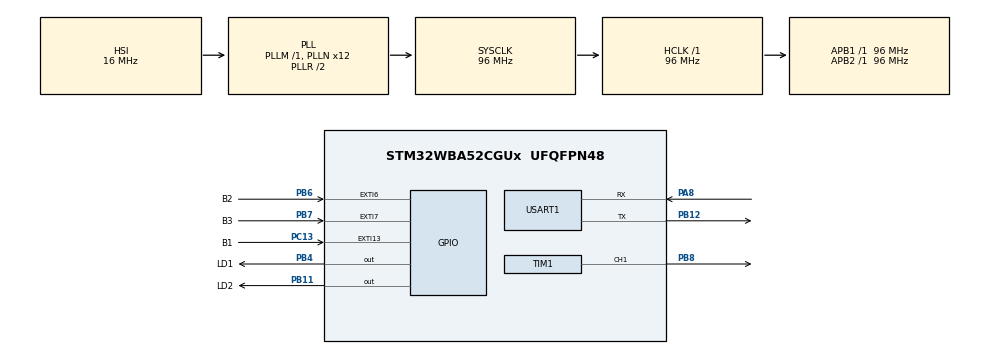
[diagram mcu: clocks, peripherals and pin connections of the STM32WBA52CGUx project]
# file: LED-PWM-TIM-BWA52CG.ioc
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CORTEX_M33_NS.userName=CORTEX_M33
Mcu.Family=STM32WBA
Mcu.Name=STM32WBA52CGUx
Mcu.Package=UFQFPN48
NVIC.PriorityGroup=NVIC_PRIORITYGROUP_4
OSC_IN.Mode=HSE-External-Oscillator
OSC_IN.Signal=RCC_OSC_IN
OSC_OUT.Mode=HSE-External-Oscillator
OSC_OUT.Signal=RCC_OSC_OUT
PA13\ (JTMS/SWDIO).Mode=Serial_Wire
PA13\ (JTMS/SWDIO).Signal=DEBUG_JTMS-SWDIO
PA14\ (JTCK/SWCLK).Mode=Serial_Wire
PA14\ (JTCK/SWCLK).Signal=DEBUG_JTCK-SWCLK
PA8.Mode=Asynchronous
PA8.Signal=USART1_RX
PB11.GPIO_Label=LD2
PB11.GPIO_Speed=GPIO_SPEED_FREQ_HIGH
PB11.Signal=GPIO_Output
PB12.Mode=Asynchronous
PB12.Signal=USART1_TX
PB4\ (NJTRST).GPIO_Label=LD1
PB4\ (NJTRST).GPIO_Speed=GPIO_SPEED_FREQ_HIGH
PB4\ (NJTRST).Signal=GPIO_Output
PB6.GPIO_Label=B2
PB6.Signal=GPXTI6
PB7.GPIO_Label=B3
PB7.Signal=GPXTI7
PB8.Signal=S_TIM1_CH1
PC13.GPIO_Label=B1
PC13.Signal=GPXTI13
PC14-OSC32_IN.Mode=LSE-External-Oscillator
PC14-OSC32_IN.Signal=RCC_OSC32_IN
PC15-OSC32_OUT.Mode=LSE-External-Oscillator
PC15-OSC32_OUT.Signal=RCC_OSC32_OUT
ProjectManager.HeapSize=0x200
ProjectManager.StackSize=0x400
ProjectManager.TargetToolchain=STM32CubeIDE
RCC.ADCFreq_Value=96000000
RCC.AHB5CLKDivider=DIV6
RCC.AHBFreq_Value=96000000
RCC.APB1Freq_Value=96000000
RCC.APB1TimFreq_Value=96000000
RCC.APB2Freq_Value=96000000
RCC.APB2TimFreq_Value=96000000
RCC.CortexFreq_Value=96000000
RCC.HCLKFreq_Value=96000000
RCC.HSE_VALUE=32000000
RCC.HSI_VALUE=16000000
RCC.PLLN=12
RCC.PWR_Regulator_Voltage_Scale=PWR_REGULATOR_VOLTAGE_SCALE1
RCC.SYSCLKFreq_VALUE=96000000
RCC.SYSCLKSourceVirtual=RCC_SYSCLKSOURCE_PLLCLK
RCC.VCOOutputFreq_Value=192000000
SH.S_TIM1_CH1.0=TIM1_CH1,PWM Generation1 CH1
TIM1.AutoReloadPreload=TIM_AUTORELOAD_PRELOAD_ENABLE
TIM1.Channel-PWM\ Generation1\ CH1=TIM_CHANNEL_1
TIM1.PeriodNoDither=56667-1
TIM1.Prescaler=2
USART1.VirtualMode-Asynchronous=VM_ASYNC
VP_ICACHE_VS_ICACHE.Mode=DirectMappedCache
VP_PWR_VS_SECSignals.Mode=Security/Privilege
VP_TIM1_VS_ClockSourceINT.Mode=Internal
board=NUCLEO-WBA52CG

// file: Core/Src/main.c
/* USER CODE BEGIN Header */
/**
 ******************************************************************************
 * @file           : main.c
 * @brief          : Main program body
 ******************************************************************************
 * @attention
 *
 * Copyright (c) 2023 STMicroelectronics.
 * All rights reserved.
 *
 * This software is licensed under terms that can be found in the LICENSE file
 * in the root directory of this software component.
 * If no LICENSE file comes with this software, it is provided AS-IS.
 *
 ******************************************************************************
 */
/* USER CODE END Header */
#include "main.h"
#include "string.h"
#include "stdio.h"
#include "stdarg.h"

TIM_HandleTypeDef htim1;

UART_HandleTypeDef huart1;

void SystemClock_Config(void);
static void MX_GPIO_Init(void);
static void MX_USART1_UART_Init(void);
static void MX_TIM1_Init(void);
static void MX_ICACHE_Init(void);
/* USER CODE BEGIN PFP */

#ifdef __GNUC__
/* With GCC, small printf (option LD Linker->Libraries->Small printf
 set to 'Yes') calls __io_putchar() */
#define PUTCHAR_PROTOTYPE int __io_putchar(int ch)
#else
#define PUTCHAR_PROTOTYPE int fputc(int ch, FILE *f)
#endif /* __GNUC__ */

/* USER CODE END PFP */

int main(void) {
	/* USER CODE BEGIN 1 */
	uint16_t brightness = 0;
	/* USER CODE END 1 */

	/* MCU Configuration--------------------------------------------------------*/

	/* Reset of all peripherals, Initializes the Flash interface and the Systick. */
	HAL_Init();

	/* Configure the system clock */
	SystemClock_Config();

	/* Initialize all configured peripherals */
	MX_GPIO_Init();
	MX_USART1_UART_Init();
	MX_TIM1_Init();
	MX_ICACHE_Init();
	/* USER CODE BEGIN 2 */
	if (HAL_TIM_PWM_Start(&htim1, TIM_CHANNEL_1) != HAL_OK) {
		Error_Handler();
	}
	/* USER CODE END 2 */

	/* Infinite loop */
	/* USER CODE BEGIN WHILE */

	// Redirect stdout to USART1
	//setbuf(stdout, NULL);

	while (1) {

		/* USER CODE END WHILE */

		/* USER CODE BEGIN 3 */
		while (brightness < htim1.Init.Period) {
			printf("%d brightness with test\r\n", brightness);
			brightness += 100;
			__HAL_TIM_SET_COMPARE(&htim1, TIM_CHANNEL_1, brightness);
			HAL_Delay(1);
		}
		while (brightness > 0) {
			printf("%d xxx brightness with test\r\n", brightness);
			brightness -= 100;
			__HAL_TIM_SET_COMPARE(&htim1, TIM_CHANNEL_1, brightness);
			HAL_Delay(1);
		}
	}
	/* USER CODE END 3 */
}

void SystemClock_Config(void) {
	RCC_OscInitTypeDef RCC_OscInitStruct = { 0 };
	RCC_ClkInitTypeDef RCC_ClkInitStruct = { 0 };

	/** Configure the main internal regulator output voltage
	 */
	if (HAL_PWREx_ControlVoltageScaling(PWR_REGULATOR_VOLTAGE_SCALE1)
			!= HAL_OK) {
		Error_Handler();
	}

	/** Initializes the CPU, AHB and APB busses clocks
	 */
	RCC_OscInitStruct.OscillatorType = RCC_OSCILLATORTYPE_HSI;
	RCC_OscInitStruct.HSIState = RCC_HSI_ON;
	RCC_OscInitStruct.HSICalibrationValue = RCC_HSICALIBRATION_DEFAULT;
	RCC_OscInitStruct.PLL1.PLLState = RCC_PLL_ON;
	RCC_OscInitStruct.PLL1.PLLSource = RCC_PLLSOURCE_HSI;
	RCC_OscInitStruct.PLL1.PLLM = 1;
	RCC_OscInitStruct.PLL1.PLLN = 12;
	RCC_OscInitStruct.PLL1.PLLP = 2;
	RCC_OscInitStruct.PLL1.PLLQ = 2;
	RCC_OscInitStruct.PLL1.PLLR = 2;
	RCC_OscInitStruct.PLL1.PLLFractional = 0;
	if (HAL_RCC_OscConfig(&RCC_OscInitStruct) != HAL_OK) {
		Error_Handler();
	}

	/** Initializes the CPU, AHB and APB busses clocks
	 */
	RCC_ClkInitStruct.ClockType = RCC_CLOCKTYPE_HCLK | RCC_CLOCKTYPE_SYSCLK
			| RCC_CLOCKTYPE_PCLK1 | RCC_CLOCKTYPE_PCLK2 | RCC_CLOCKTYPE_PCLK7
			| RCC_CLOCKTYPE_HCLK5;
	RCC_ClkInitStruct.SYSCLKSource = RCC_SYSCLKSOURCE_PLLCLK;
	RCC_ClkInitStruct.AHBCLKDivider = RCC_SYSCLK_DIV1;
	RCC_ClkInitStruct.APB1CLKDivider = RCC_HCLK_DIV1;
	RCC_ClkInitStruct.APB2CLKDivider = RCC_HCLK_DIV1;
	RCC_ClkInitStruct.APB7CLKDivider = RCC_HCLK_DIV1;
	RCC_ClkInitStruct.AHB5_PLL1_CLKDivider = RCC_SYSCLK_PLL1_DIV6;
	RCC_ClkInitStruct.AHB5_HSEHSI_CLKDivider = RCC_SYSCLK_HSEHSI_DIV1;

	if (HAL_RCC_ClockConfig(&RCC_ClkInitStruct, FLASH_LATENCY_2) != HAL_OK) {
		Error_Handler();
	}
}

static void MX_ICACHE_Init(void) {

	/** Enable instruction cache in 1-way (direct mapped cache)
	 */
	if (HAL_ICACHE_ConfigAssociativityMode(ICACHE_1WAY) != HAL_OK) {
		Error_Handler();
	}
	if (HAL_ICACHE_Enable() != HAL_OK) {
		Error_Handler();
	}

}

static void MX_TIM1_Init(void) {

	TIM_ClockConfigTypeDef sClockSourceConfig = { 0 };
	TIM_MasterConfigTypeDef sMasterConfig = { 0 };
	TIM_OC_InitTypeDef sConfigOC = { 0 };
	TIM_BreakDeadTimeConfigTypeDef sBreakDeadTimeConfig = { 0 };

	htim1.Instance = TIM1;
	htim1.Init.Prescaler = 2;
	htim1.Init.CounterMode = TIM_COUNTERMODE_UP;
	htim1.Init.Period = 56666;
	htim1.Init.ClockDivision = TIM_CLOCKDIVISION_DIV1;
	htim1.Init.RepetitionCounter = 0;
	htim1.Init.AutoReloadPreload = TIM_AUTORELOAD_PRELOAD_ENABLE;
	if (HAL_TIM_Base_Init(&htim1) != HAL_OK) {
		Error_Handler();
	}
	sClockSourceConfig.ClockSource = TIM_CLOCKSOURCE_INTERNAL;
	if (HAL_TIM_ConfigClockSource(&htim1, &sClockSourceConfig) != HAL_OK) {
		Error_Handler();
	}
	if (HAL_TIM_PWM_Init(&htim1) != HAL_OK) {
		Error_Handler();
	}
	sMasterConfig.MasterOutputTrigger = TIM_TRGO_RESET;
	sMasterConfig.MasterOutputTrigger2 = TIM_TRGO2_RESET;
	sMasterConfig.MasterSlaveMode = TIM_MASTERSLAVEMODE_DISABLE;
	if (HAL_TIMEx_MasterConfigSynchronization(&htim1, &sMasterConfig)
			!= HAL_OK) {
		Error_Handler();
	}
	sConfigOC.OCMode = TIM_OCMODE_PWM1;
	sConfigOC.Pulse = 0;
	sConfigOC.OCPolarity = TIM_OCPOLARITY_HIGH;
	sConfigOC.OCNPolarity = TIM_OCNPOLARITY_HIGH;
	sConfigOC.OCFastMode = TIM_OCFAST_DISABLE;
	sConfigOC.OCIdleState = TIM_OCIDLESTATE_RESET;
	sConfigOC.OCNIdleState = TIM_OCNIDLESTATE_RESET;
	if (HAL_TIM_PWM_ConfigChannel(&htim1, &sConfigOC, TIM_CHANNEL_1)
			!= HAL_OK) {
		Error_Handler();
	}
	sBreakDeadTimeConfig.OffStateRunMode = TIM_OSSR_DISABLE;
	sBreakDeadTimeConfig.OffStateIDLEMode = TIM_OSSI_DISABLE;
	sBreakDeadTimeConfig.LockLevel = TIM_LOCKLEVEL_OFF;
	sBreakDeadTimeConfig.DeadTime = 0;
	sBreakDeadTimeConfig.BreakState = TIM_BREAK_DISABLE;
	sBreakDeadTimeConfig.BreakPolarity = TIM_BREAKPOLARITY_HIGH;
	sBreakDeadTimeConfig.BreakFilter = 0;
	sBreakDeadTimeConfig.BreakAFMode = TIM_BREAK_AFMODE_INPUT;
	sBreakDeadTimeConfig.Break2State = TIM_BREAK2_DISABLE;
	sBreakDeadTimeConfig.Break2Polarity = TIM_BREAK2POLARITY_HIGH;
	sBreakDeadTimeConfig.Break2Filter = 0;
	sBreakDeadTimeConfig.Break2AFMode = TIM_BREAK_AFMODE_INPUT;
	sBreakDeadTimeConfig.AutomaticOutput = TIM_AUTOMATICOUTPUT_DISABLE;
	if (HAL_TIMEx_ConfigBreakDeadTime(&htim1, &sBreakDeadTimeConfig)
			!= HAL_OK) {
		Error_Handler();
	}
	HAL_TIM_MspPostInit(&htim1);

}

static void MX_USART1_UART_Init(void) {

	huart1.Instance = USART1;
	huart1.Init.BaudRate = 115200;
	huart1.Init.WordLength = UART_WORDLENGTH_8B;
	huart1.Init.StopBits = UART_STOPBITS_1;
	huart1.Init.Parity = UART_PARITY_NONE;
	huart1.Init.Mode = UART_MODE_TX_RX;
	huart1.Init.HwFlowCtl = UART_HWCONTROL_NONE;
	huart1.Init.OverSampling = UART_OVERSAMPLING_16;
	huart1.Init.OneBitSampling = UART_ONE_BIT_SAMPLE_DISABLE;
	huart1.Init.ClockPrescaler = UART_PRESCALER_DIV1;
	huart1.AdvancedInit.AdvFeatureInit = UART_ADVFEATURE_NO_INIT;
	if (HAL_UART_Init(&huart1) != HAL_OK) {
		Error_Handler();
	}
	if (HAL_UARTEx_SetTxFifoThreshold(&huart1, UART_TXFIFO_THRESHOLD_1_8)
			!= HAL_OK) {
		Error_Handler();
	}
	if (HAL_UARTEx_SetRxFifoThreshold(&huart1, UART_RXFIFO_THRESHOLD_1_8)
			!= HAL_OK) {
		Error_Handler();
	}
	if (HAL_UARTEx_DisableFifoMode(&huart1) != HAL_OK) {
		Error_Handler();
	}

}

static void MX_GPIO_Init(void) {
	GPIO_InitTypeDef GPIO_InitStruct = { 0 };

	/* GPIO Ports Clock Enable */
	__HAL_RCC_GPIOB_CLK_ENABLE();
	__HAL_RCC_GPIOA_CLK_ENABLE();
	__HAL_RCC_GPIOC_CLK_ENABLE();

	/*Configure GPIO pin Output Level */
	HAL_GPIO_WritePin(GPIOB, LD2_Pin | LD1_Pin, GPIO_PIN_RESET);

	/*Configure GPIO pins : LD2_Pin LD1_Pin */
	GPIO_InitStruct.Pin = LD2_Pin | LD1_Pin;
	GPIO_InitStruct.Mode = GPIO_MODE_OUTPUT_PP;
	GPIO_InitStruct.Pull = GPIO_NOPULL;
	GPIO_InitStruct.Speed = GPIO_SPEED_FREQ_HIGH;
	HAL_GPIO_Init(GPIOB, &GPIO_InitStruct);

	/*Configure GPIO pin : B1_Pin */
	GPIO_InitStruct.Pin = B1_Pin;
	GPIO_InitStruct.Mode = GPIO_MODE_IT_RISING;
	GPIO_InitStruct.Pull = GPIO_NOPULL;
	HAL_GPIO_Init(B1_GPIO_Port, &GPIO_InitStruct);

	/*Configure GPIO pins : B3_Pin B2_Pin */
	GPIO_InitStruct.Pin = B3_Pin | B2_Pin;
	GPIO_InitStruct.Mode = GPIO_MODE_IT_RISING;
	GPIO_InitStruct.Pull = GPIO_NOPULL;
	HAL_GPIO_Init(GPIOB, &GPIO_InitStruct);

}

/* USER CODE BEGIN 4 */
PUTCHAR_PROTOTYPE {
	// Send character to USART or other output device
	HAL_UART_Transmit(&huart1, (uint8_t*) &ch, 1, HAL_MAX_DELAY);
	return ch;
}
/* USER CODE END 4 */

void Error_Handler(void) {
	__disable_irq();
	while (1) {
	}
}
